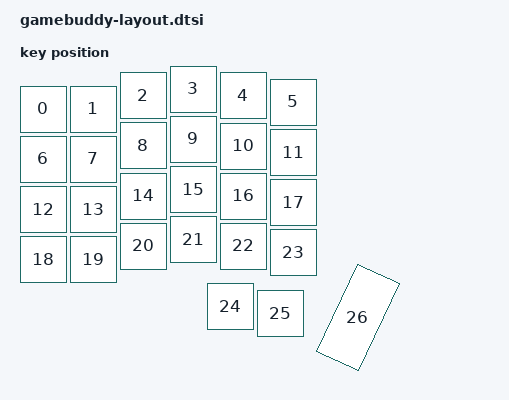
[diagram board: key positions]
#include <physical_layouts.dtsi>

/ {
    gamebuddy_layout: gamebuddy_layout {
        compatible = "zmk,physical-layout";
        display-name = "Default";

        keys  //                     w   h    x    y     rot    rx    ry
            = <&key_physical_attrs 100 100    0   40       0     0     0>
            , <&key_physical_attrs 100 100  100   40       0     0     0>
            , <&key_physical_attrs 100 100  200   13       0     0     0>
            , <&key_physical_attrs 100 100  300    0       0     0     0>
            , <&key_physical_attrs 100 100  400   13       0     0     0>
            , <&key_physical_attrs 100 100  500   26       0     0     0>
            , <&key_physical_attrs 100 100    0  140       0     0     0>
            , <&key_physical_attrs 100 100  100  140       0     0     0>
            , <&key_physical_attrs 100 100  200  113       0     0     0>
            , <&key_physical_attrs 100 100  300  100       0     0     0>
            , <&key_physical_attrs 100 100  400  114       0     0     0>
            , <&key_physical_attrs 100 100  500  127       0     0     0>
            , <&key_physical_attrs 100 100    0  241       0     0     0>
            , <&key_physical_attrs 100 100  100  241       0     0     0>
            , <&key_physical_attrs 100 100  200  214       0     0     0>
            , <&key_physical_attrs 100 100  300  201       0     0     0>
            , <&key_physical_attrs 100 100  400  214       0     0     0>
            , <&key_physical_attrs 100 100  500  227       0     0     0>
            , <&key_physical_attrs 100 100    0  341       0     0     0>
            , <&key_physical_attrs 100 100  100  341       0     0     0>
            , <&key_physical_attrs 100 100  200  314       0     0     0>
            , <&key_physical_attrs 100 100  300  301       0     0     0>
            , <&key_physical_attrs 100 100  400  314       0     0     0>
            , <&key_physical_attrs 100 100  500  327       0     0     0>
            , <&key_physical_attrs 100 100  375  435       0     0     0>
            , <&key_physical_attrs 100 100  475  449       0     0     0>
            , <&key_physical_attrs 200 100  585  465 (-6500)   676   515>
            ;
    };
};
